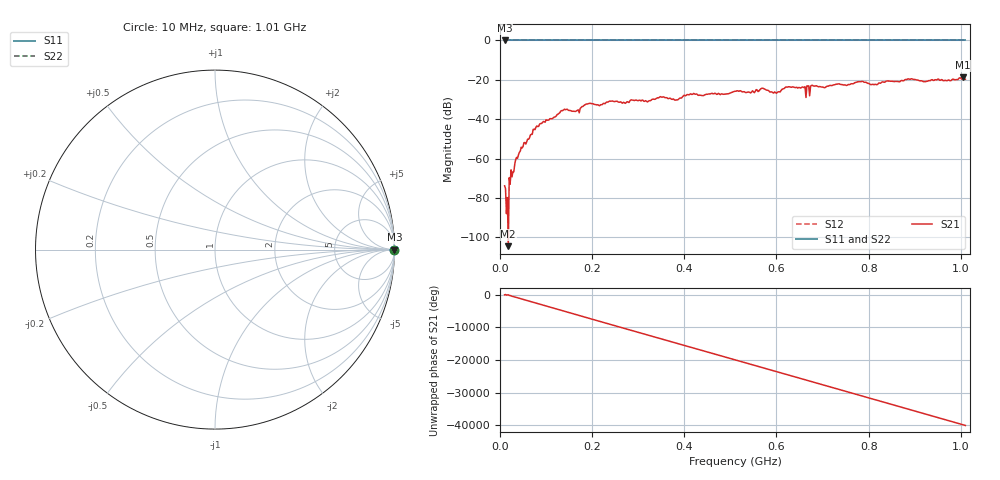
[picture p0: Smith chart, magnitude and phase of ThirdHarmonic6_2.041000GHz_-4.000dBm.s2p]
! 8/17/2025 12:28:33 AM
! C:\ANRITSUVNA\TEMP\TEMP.S2P
! CHANNEL.1
! TR.MEASUREMENT
! RAW.DATA
! RF.CORRECTION.OFF
! AVERAGING.OFF
! IF.BANDWIDTH: 5KHZ
! SWEEPTYPE:  FREQ.SWEEP(Linear)
! Reference Plane Port Info
! PORT:  PORT1  PORT2
! DISTANCE:  0  m  0  m
! TIME:  0  s  0  s
! PHASE.OFFSET:  0  deg.  0  deg.
! LOSS:  0  dB  0  dB
! REF.LOSS:  0  dB  0  dB
! REF.FREQ:  0  Hz  0  Hz
! Power Info
! POWER:  -20  dBm  -20  dBm
! EFF.POWER:  -20  dBm  -20  dBm
! SOURCE.ATTEN:  0  dB  0  dB
! TEST.ATTEN:  0  dB  0  dB
# GHZ S RI R 50.0
! FREQ.GHZ  S11RE  S11IM  S21RE  S21IM  S12RE  S12IM  S22RE  S22IM
!; PortSelection: Port_12
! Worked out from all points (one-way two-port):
!   501 points, 10 MHz to 1.01 GHz, reference 50 ohm
!   highest |S21| = -18.80 dB at 1.004 GHz (marker M1); lowest = -104.5 dB at 18 MHz (marker M2)
!   lowest |S11| = 0.0 dB at 10 MHz (marker M3)
!   |S11| at or under -10 dB: nowhere
!   |S22| runs from 0.0 to 0.0 dB; largest |S21 - S12| = 1.1
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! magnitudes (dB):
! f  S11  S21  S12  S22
! 10 MHz  0.0  -73.9  0.0  0.0
! 14 MHz  0.0  -88.0  0.0  0.0
! 18 MHz  0.0  -104.5  0.0  0.0
! 24 MHz  0.0  -65.8  0.0  0.0
! 38 MHz  0.0  -59.9  0.0  0.0
! 76 MHz  0.0  -45.3  0.0  0.0
! 136 MHz  0.0  -35.7  0.0  0.0
! 168 MHz  0.0  -35.5  0.0  0.0
! 178 MHz  0.0  -33.6  0.0  0.0
! 344 MHz  0.0  -29.2  0.0  0.0
! 382 MHz  0.0  -30.3  0.0  0.0
! 410 MHz  0.0  -27.6  0.0  0.0
! 510 MHz  0.0  -25.8  0.0  0.0
! 570 MHz  0.0  -24.3  0.0  0.0
! 598 MHz  0.0  -26.5  0.0  0.0
! 624 MHz  0.0  -23.7  0.0  0.0
! 668 MHz  0.0  -23.1  0.0  0.0
! 678 MHz  0.0  -22.8  0.0  0.0
! 814 MHz  0.0  -22.3  0.0  0.0
! 844 MHz  0.0  -20.7  0.0  0.0
! 1.004 GHz  0.0  -18.8  0.0  0.0
! 1.01 GHz  0.0  -19.7  0.0  0.0
